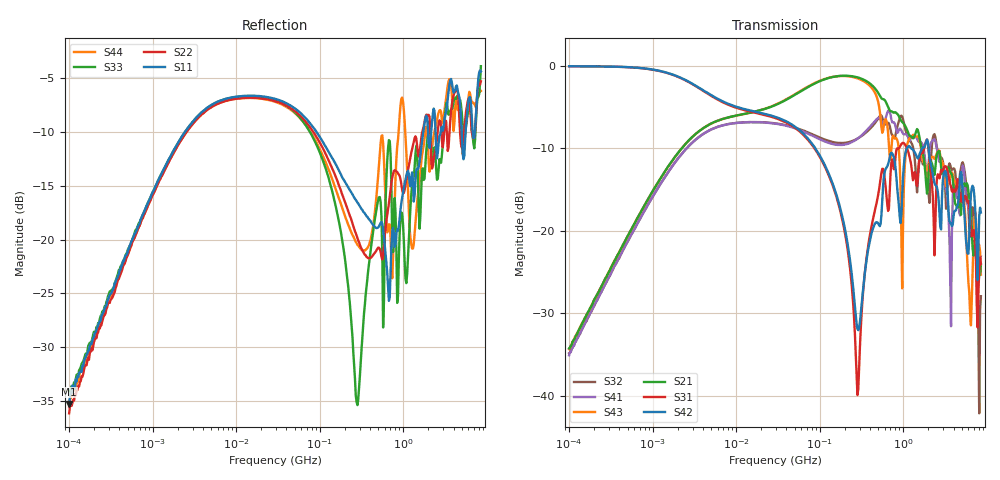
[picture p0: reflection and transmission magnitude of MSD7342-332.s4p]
# MHz S MA R 50
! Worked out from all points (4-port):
!   498 points, 100 kHz to 8.5 GHz, reference 50 ohm
!   strongest paths, dB at 100 kHz, 1.698 MHz, 29.49 MHz, 500.7 MHz, 8.5 GHz:
!     S42: 0.0, -1.0, -6.2, -19.1, -17.8
!     S31: -0.1, -1.0, -6.3, -15.7, -24.0
!     S21: -34.3, -11.6, -4.8, -3.3, -24.1
!     S43: -34.4, -11.6, -4.7, -4.4, -25.3
!     S41: -35.1, -12.3, -7.0, -6.3, -23.1
!     S32: -34.9, -12.2, -7.0, -6.4, -27.9
!   lowest |S11| = -35.2 dB at 100 kHz (marker M1), VSWR 1.04, Z = 50 + j1.73 ohm
!   |S11| at or under -10 dB: 91.04 MHz to 1.739 GHz (1.648 GHz wide, 180 % of centre); 2.435 GHz to 2.809 GHz (374.3 MHz wide, 14.3 % of centre); 4.997 GHz to 5.584 GHz (587.3 MHz wide, 11.1 % of centre)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
0.1  0.01731 88.7  0.01936 86.9  0.994 -1.1  0.01758 -93.9
     0.01936 86.9  0.01566 91.2  0.01806 -92.8  0.9946 -1.1
     0.994 -1.1  0.01806 -92.8  0.01989 91.3  0.01915 88.5
     0.01758 -93.9  0.9946 -1.1  0.01915 88.5  0.01686 89.7
4.532774  0.409 27.9  0.4347 33.4  0.6794 -22.5  0.4002 -153.2
          0.4347 33.4  0.4003 27.5  0.4002 -153.8  0.6849 -21.9
          0.6794 -22.5  0.4002 -153.8  0.4075 27.4  0.4344 33.3
          0.4002 -153.2  0.6849 -21.9  0.4344 33.3  0.3998 28.2
145.8656  0.2336 -72.7  0.8573 -17.8  0.1829 -89.5  0.3345 81.5
          0.8573 -17.8  0.2074 -94.9  0.3444 68.0  0.1873 -87.7
          0.1829 -89.5  0.3444 68.0  0.1587 -88.4  0.8587 -21.5
          0.3345 81.5  0.1873 -87.7  0.8587 -21.5  0.184 -65.7
282.8688  0.1482 -103.3  0.8518 -52.7  0.01008 -56.9  0.3614 36.3
          0.8518 -52.7  0.1017 -151.3  0.362 22.1  0.02543 -62.7
          0.01008 -56.9  0.362 22.1  0.0171 -44.2  0.8399 -60.2
          0.3614 36.3  0.02543 -62.7  0.8399 -60.2  0.0944 -58.2
970.9031  0.1566 -0.1  0.4568 -167.9  0.3397 -113.3  0.3966 -130.8
          0.4568 -167.9  0.1699 -42.6  0.4916 -138.3  0.1643 -83.2
          0.3397 -113.3  0.4916 -138.3  0.1308 -169.1  0.04471 -154.3
          0.3966 -130.8  0.1643 -83.2  0.04471 -154.3  0.4545 -155.0
4187.455  0.494 -172.0  0.1454 134.7  0.1727 142.2  0.1934 151.1
          0.1454 134.7  0.4841 -161.6  0.2278 126.8  0.1324 134.1
          0.1727 142.2  0.2278 126.8  0.4541 -167.6  0.1863 144.3
          0.1934 151.1  0.1324 134.1  0.1863 144.3  0.4083 -165.2
8500  0.6011 -58.5  0.06269 46.1  0.0628 -46.2  0.07005 -32.1
      0.06269 46.1  0.5407 -59.9  0.04009 -73.6  0.129 -79.8
      0.0628 -46.2  0.04009 -73.6  0.6355 -36.9  0.05422 4.6
      0.07005 -32.1  0.129 -79.8  0.05422 4.6  0.488 -63.8
